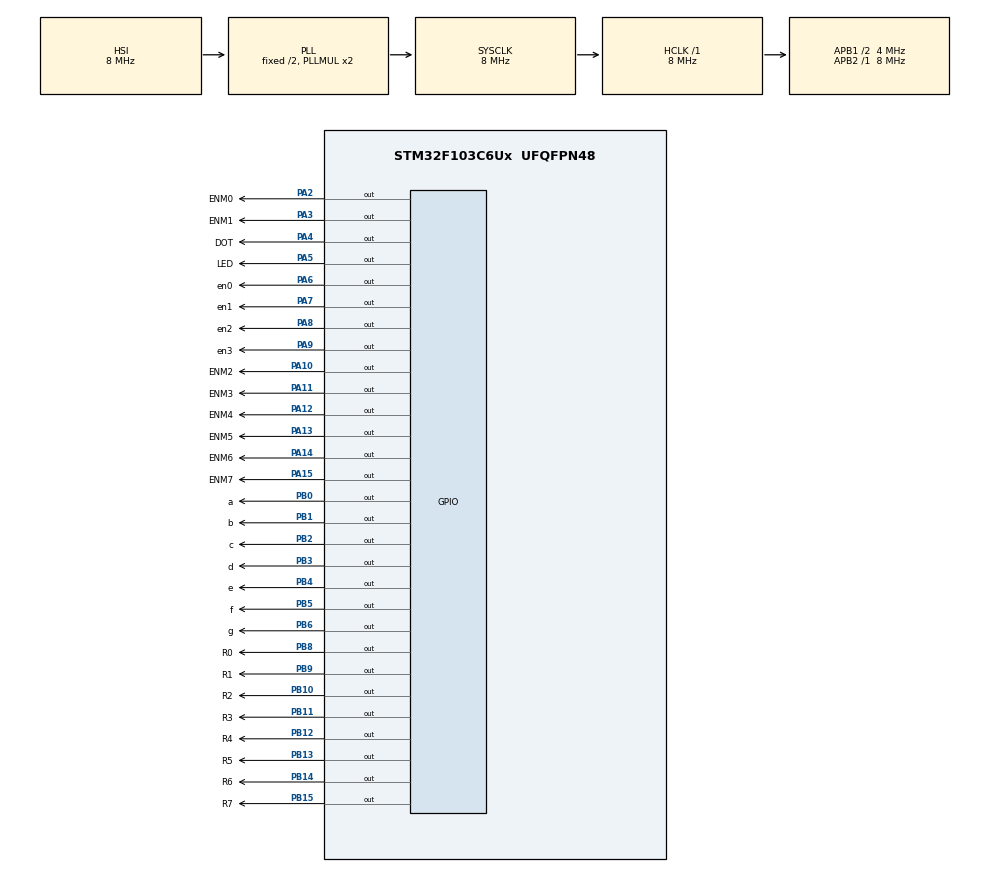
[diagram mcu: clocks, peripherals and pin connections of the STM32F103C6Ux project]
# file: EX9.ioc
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Mcu.Family=STM32F1
Mcu.Name=STM32F103C6Ux
Mcu.Package=UFQFPN48
NVIC.PriorityGroup=NVIC_PRIORITYGROUP_4
NVIC.TIM2_IRQn=true\:0\:0\:false\:false\:true\:true\:true
PA10.GPIO_Label=ENM2
PA10.Signal=GPIO_Output
PA11.GPIO_Label=ENM3
PA11.Signal=GPIO_Output
PA12.GPIO_Label=ENM4
PA12.Signal=GPIO_Output
PA13.GPIO_Label=ENM5
PA13.Signal=GPIO_Output
PA14.GPIO_Label=ENM6
PA14.Signal=GPIO_Output
PA15.GPIO_Label=ENM7
PA15.Signal=GPIO_Output
PA2.GPIO_Label=ENM0
PA2.Signal=GPIO_Output
PA3.GPIO_Label=ENM1
PA3.Signal=GPIO_Output
PA4.GPIO_Label=DOT
PA4.Signal=GPIO_Output
PA5.GPIO_Label=LED
PA5.Signal=GPIO_Output
PA6.GPIO_Label=en0
PA6.Signal=GPIO_Output
PA7.GPIO_Label=en1
PA7.Signal=GPIO_Output
PA8.GPIO_Label=en2
PA8.Signal=GPIO_Output
PA9.GPIO_Label=en3
PA9.Signal=GPIO_Output
PB0.GPIO_Label=a
PB0.Signal=GPIO_Output
PB1.GPIO_Label=b
PB1.Signal=GPIO_Output
PB10.GPIO_Label=R2
PB10.Signal=GPIO_Output
PB11.GPIO_Label=R3
PB11.Signal=GPIO_Output
PB12.GPIO_Label=R4
PB12.Signal=GPIO_Output
PB13.GPIO_Label=R5
PB13.Signal=GPIO_Output
PB14.GPIO_Label=R6
PB14.Signal=GPIO_Output
PB15.GPIO_Label=R7
PB15.Signal=GPIO_Output
PB2.GPIO_Label=c
PB2.Signal=GPIO_Output
PB3.GPIO_Label=d
PB3.Signal=GPIO_Output
PB4.GPIO_Label=e
PB4.Signal=GPIO_Output
PB5.GPIO_Label=f
PB5.Signal=GPIO_Output
PB6.GPIO_Label=g
PB6.Signal=GPIO_Output
PB8.GPIO_Label=R0
PB8.Signal=GPIO_Output
PB9.GPIO_Label=R1
PB9.Signal=GPIO_Output
ProjectManager.HeapSize=0x200
ProjectManager.StackSize=0x400
ProjectManager.TargetToolchain=STM32CubeIDE
RCC.AHBFreq_Value=8000000
RCC.APB1CLKDivider=RCC_HCLK_DIV2
RCC.APB1Freq_Value=4000000
RCC.APB1TimFreq_Value=8000000
RCC.APB2Freq_Value=8000000
RCC.APB2TimFreq_Value=8000000
RCC.HCLKFreq_Value=8000000
RCC.SYSCLKFreq_VALUE=8000000
RCC.SYSCLKSource=RCC_SYSCLKSOURCE_PLLCLK
RCC.USBFreq_Value=8000000
TIM2.Period=9
TIM2.Prescaler=7999
VP_SYS_VS_ND.Mode=No_Debug
VP_TIM2_VS_ClockSourceINT.Mode=Internal
board=custom

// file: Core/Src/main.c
/* USER CODE BEGIN Header */
/**
  ******************************************************************************
  * @file           : main.c
  * @brief          : Main program body
  ******************************************************************************
  * @attention
  *
  * <h2><center>&copy; Copyright (c) 2022 STMicroelectronics.
  * All rights reserved.</center></h2>
  *
  * This software component is licensed by ST under BSD 3-Clause license,
  * the "License"; You may not use this file except in compliance with the
  * License. You may obtain a copy of the License at:
  *                        opensource.org/licenses/BSD-3-Clause
  *
  ******************************************************************************
  */
/* USER CODE END Header */
#include "main.h"

/* USER CODE BEGIN Includes */
#include "software_timer.h"
/* USER CODE END Includes */

TIM_HandleTypeDef htim2;

void SystemClock_Config(void);
static void MX_GPIO_Init(void);
static void MX_TIM2_Init(void);

/* USER CODE BEGIN 0 */

const int MAX_LED = 4;
int index_led = 0;
int led_buffer [4] = {1 , 2 , 3 , 4};
void display7SEG(int num){
	HAL_GPIO_WritePin (GPIOB,a_Pin|b_Pin|c_Pin|d_Pin|e_Pin|f_Pin|g_Pin, GPIO_PIN_SET ) ;
	switch(num){
	case 0:
		HAL_GPIO_TogglePin (GPIOB,a_Pin|b_Pin|c_Pin|d_Pin|e_Pin|f_Pin) ;
		break;
	case 1:
		HAL_GPIO_TogglePin (GPIOB ,b_Pin|c_Pin ) ;
		break;
	case 2:
		HAL_GPIO_TogglePin (GPIOB,a_Pin|b_Pin|g_Pin|d_Pin|e_Pin) ;
		break;
	case 3:
		HAL_GPIO_TogglePin (GPIOB,a_Pin|b_Pin|g_Pin|c_Pin|d_Pin) ;
		break;
	case 4:
		HAL_GPIO_TogglePin (GPIOB,f_Pin|g_Pin|b_Pin|c_Pin) ;
		break;
	case 5:
		HAL_GPIO_TogglePin (GPIOB,a_Pin|f_Pin|g_Pin|c_Pin|d_Pin) ;
		break;
	case 6 :
		HAL_GPIO_TogglePin (GPIOB,a_Pin|f_Pin|g_Pin|e_Pin|c_Pin|d_Pin) ;
		break;
	case 7 :
		HAL_GPIO_TogglePin (GPIOB,a_Pin|b_Pin|c_Pin ) ;
		break;
	case 8:
		HAL_GPIO_TogglePin (GPIOB,a_Pin|b_Pin|c_Pin|d_Pin|e_Pin|f_Pin|g_Pin) ;
		break;
	case 9:
		HAL_GPIO_TogglePin (GPIOB,a_Pin|b_Pin|c_Pin|d_Pin|f_Pin|g_Pin) ;
		break;
	}
	return;
}

void update7SEG(int index){
	HAL_GPIO_WritePin (GPIOA,en0_Pin|en1_Pin|en2_Pin|en3_Pin, SET) ;
	switch(index){
	case 0:
		// Display the first 7 SEG with led_buffer [0]
		 HAL_GPIO_WritePin (en0_GPIO_Port,en0_Pin, GPIO_PIN_RESET ) ;
		 display7SEG(led_buffer[0]);
		break ;
	case 1:
		// Display the second 7 SEG with led_buffer [1]
		 HAL_GPIO_WritePin (en1_GPIO_Port,en1_Pin, GPIO_PIN_RESET ) ;
		 display7SEG(led_buffer[1]);
		break ;
	case 2:
		// Display the third 7 SEG with led_buffer [2]
		 HAL_GPIO_WritePin (en2_GPIO_Port,en2_Pin, GPIO_PIN_RESET ) ;
		 display7SEG(led_buffer[2]);
		break ;
	case 3:
		// Display the forth 7 SEG with led_buffer [3]
		 HAL_GPIO_WritePin (en3_GPIO_Port,en3_Pin, GPIO_PIN_RESET ) ;
		 display7SEG(led_buffer[3]);
		break ;
	default :
		index_led = 1;
		update7SEG(0);
		break ;
	}
}

void displayA(uint8_t number){
	HAL_GPIO_WritePin(R0_GPIO_Port, R0_Pin, ((number>>0)&0x01)^0x01);
	HAL_GPIO_WritePin(R1_GPIO_Port, R1_Pin, ((number>>1)&0x01)^0x01);
	HAL_GPIO_WritePin(R2_GPIO_Port, R2_Pin, ((number>>2)&0x01)^0x01);
	HAL_GPIO_WritePin(R3_GPIO_Port, R3_Pin, ((number>>3)&0x01)^0x01);
	HAL_GPIO_WritePin(R4_GPIO_Port, R4_Pin, ((number>>4)&0x01)^0x01);
	HAL_GPIO_WritePin(R5_GPIO_Port, R5_Pin, ((number>>5)&0x01)^0x01);
	HAL_GPIO_WritePin(R6_GPIO_Port, R6_Pin, ((number>>6)&0x01)^0x01);
	HAL_GPIO_WritePin(R7_GPIO_Port, R7_Pin, ((number>>7)&0x01)^0x01);
}
const int MAX_LED_MATRIX = 8;
int index_led_matrix = 0;
uint8_t matrix_buffer[8] = {0x00 , 0xFC , 0xFE , 0x33 , 0x33 , 0xFE , 0xFC , 0x00};
void updateLEDMatrix (int index) {
	switch (index){
		case 0:
			HAL_GPIO_WritePin(ENM0_GPIO_Port, ENM0_Pin, GPIO_PIN_RESET);
			HAL_GPIO_WritePin(GPIOA, ENM1_Pin|ENM2_Pin|ENM3_Pin|ENM4_Pin|ENM5_Pin|ENM6_Pin|ENM7_Pin, GPIO_PIN_SET);
			displayA(matrix_buffer[0]);
			break;
		case 1:
			HAL_GPIO_WritePin(ENM1_GPIO_Port, ENM1_Pin, GPIO_PIN_RESET);
			HAL_GPIO_WritePin(GPIOA, ENM0_Pin|ENM2_Pin|ENM3_Pin|ENM4_Pin|ENM5_Pin|ENM6_Pin|ENM7_Pin, GPIO_PIN_SET);
			displayA(matrix_buffer[1]);
			break;
		case 2:
			HAL_GPIO_WritePin(ENM2_GPIO_Port, ENM2_Pin, GPIO_PIN_RESET);
			HAL_GPIO_WritePin(GPIOA, ENM0_Pin|ENM1_Pin|ENM3_Pin|ENM4_Pin|ENM5_Pin|ENM6_Pin|ENM7_Pin, GPIO_PIN_SET);
			displayA(matrix_buffer[2]);
			break;
		case 3:
			HAL_GPIO_WritePin(ENM3_GPIO_Port, ENM3_Pin, GPIO_PIN_RESET);
			HAL_GPIO_WritePin(GPIOA, ENM0_Pin|ENM1_Pin|ENM2_Pin|ENM4_Pin|ENM5_Pin|ENM6_Pin|ENM7_Pin, GPIO_PIN_SET);
			displayA(matrix_buffer[3]);
			break;
		case 4:
			HAL_GPIO_WritePin(ENM4_GPIO_Port, ENM4_Pin, GPIO_PIN_RESET);
			HAL_GPIO_WritePin(GPIOA, ENM0_Pin|ENM1_Pin|ENM2_Pin|ENM3_Pin|ENM5_Pin|ENM6_Pin|ENM7_Pin, GPIO_PIN_SET);
			displayA(matrix_buffer[4]);
			break;
		case 5:
			HAL_GPIO_WritePin(ENM5_GPIO_Port, ENM5_Pin, GPIO_PIN_RESET);
			HAL_GPIO_WritePin(GPIOA, ENM0_Pin|ENM1_Pin|ENM2_Pin|ENM3_Pin|ENM4_Pin|ENM6_Pin|ENM7_Pin, GPIO_PIN_SET);
			displayA(matrix_buffer[5]);
			break;
		case 6:
			HAL_GPIO_WritePin(ENM6_GPIO_Port, ENM6_Pin, GPIO_PIN_RESET);
			HAL_GPIO_WritePin(GPIOA, ENM0_Pin|ENM1_Pin|ENM2_Pin|ENM3_Pin|ENM4_Pin|ENM5_Pin|ENM7_Pin, GPIO_PIN_SET);
			displayA(matrix_buffer[6]);
			break;
		case 7:
			HAL_GPIO_WritePin(ENM7_GPIO_Port, ENM7_Pin, GPIO_PIN_RESET);
			HAL_GPIO_WritePin(GPIOA, ENM0_Pin|ENM1_Pin|ENM2_Pin|ENM3_Pin|ENM4_Pin|ENM5_Pin|ENM6_Pin, GPIO_PIN_SET);
			displayA(matrix_buffer[7]);
			index_led_matrix = -1;
			break;
	}
}

/* USER CODE END 0 */

int main(void)
{

  /* MCU Configuration--------------------------------------------------------*/

  /* Reset of all peripherals, Initializes the Flash interface and the Systick. */
  HAL_Init();

  /* Configure the system clock */
  SystemClock_Config();

  /* Initialize all configured peripherals */
  MX_GPIO_Init();
  MX_TIM2_Init();
  /* USER CODE BEGIN 2 */
  HAL_TIM_Base_Start_IT (& htim2 ) ;
  int hour = 15 , minute = 8 , second = 50;
  void updateClockBuffer(){
	  //update hour
	  	  led_buffer[0] = hour/10;
		  led_buffer[1] = hour%10;
		  led_buffer[2] = minute/10;
		  led_buffer[3] = minute%10;
  }
  /* USER CODE END 2 */

  /* Infinite loop */
  /* USER CODE BEGIN WHILE */
  setTimer0(100);
  setTimer1(100);
  setTimer2(100);
  while (1)
  {
	  if(timer0_flag == 1){
		  updateLEDMatrix(index_led_matrix);
		  index_led_matrix++;
		  setTimer0(50);
	  }

	  if (timer1_flag == 1){
		  second++;
		  if (second >= 60){
			 second = 0;
			 minute++;
		  }
		  if(minute >= 60){
			 minute = 0;
			 hour ++;
		  }
		  if(hour >=24){
			 hour = 0;
		  }
		  updateClockBuffer();
		  HAL_GPIO_TogglePin(DOT_GPIO_Port, DOT_Pin);
		  setTimer1(1000);
	  }
	  if(timer2_flag == 1){
		  update7SEG(index_led++);
		  setTimer2(500);
	  }

    /* USER CODE END WHILE */

  }
}

void SystemClock_Config(void)
{
  RCC_OscInitTypeDef RCC_OscInitStruct = {0};
  RCC_ClkInitTypeDef RCC_ClkInitStruct = {0};

  /** Initializes the RCC Oscillators according to the specified parameters
  * in the RCC_OscInitTypeDef structure.
  */
  RCC_OscInitStruct.OscillatorType = RCC_OSCILLATORTYPE_HSI;
  RCC_OscInitStruct.HSIState = RCC_HSI_ON;
  RCC_OscInitStruct.HSICalibrationValue = RCC_HSICALIBRATION_DEFAULT;
  RCC_OscInitStruct.PLL.PLLState = RCC_PLL_ON;
  RCC_OscInitStruct.PLL.PLLSource = RCC_PLLSOURCE_HSI_DIV2;
  RCC_OscInitStruct.PLL.PLLMUL = RCC_PLL_MUL2;
  if (HAL_RCC_OscConfig(&RCC_OscInitStruct) != HAL_OK)
  {
    Error_Handler();
  }
  /** Initializes the CPU, AHB and APB buses clocks
  */
  RCC_ClkInitStruct.ClockType = RCC_CLOCKTYPE_HCLK|RCC_CLOCKTYPE_SYSCLK
                              |RCC_CLOCKTYPE_PCLK1|RCC_CLOCKTYPE_PCLK2;
  RCC_ClkInitStruct.SYSCLKSource = RCC_SYSCLKSOURCE_PLLCLK;
  RCC_ClkInitStruct.AHBCLKDivider = RCC_SYSCLK_DIV1;
  RCC_ClkInitStruct.APB1CLKDivider = RCC_HCLK_DIV2;
  RCC_ClkInitStruct.APB2CLKDivider = RCC_HCLK_DIV1;

  if (HAL_RCC_ClockConfig(&RCC_ClkInitStruct, FLASH_LATENCY_0) != HAL_OK)
  {
    Error_Handler();
  }
}

static void MX_TIM2_Init(void)
{

  TIM_ClockConfigTypeDef sClockSourceConfig = {0};
  TIM_MasterConfigTypeDef sMasterConfig = {0};

  htim2.Instance = TIM2;
  htim2.Init.Prescaler = 7999;
  htim2.Init.CounterMode = TIM_COUNTERMODE_UP;
  htim2.Init.Period = 9;
  htim2.Init.ClockDivision = TIM_CLOCKDIVISION_DIV1;
  htim2.Init.AutoReloadPreload = TIM_AUTORELOAD_PRELOAD_DISABLE;
  if (HAL_TIM_Base_Init(&htim2) != HAL_OK)
  {
    Error_Handler();
  }
  sClockSourceConfig.ClockSource = TIM_CLOCKSOURCE_INTERNAL;
  if (HAL_TIM_ConfigClockSource(&htim2, &sClockSourceConfig) != HAL_OK)
  {
    Error_Handler();
  }
  sMasterConfig.MasterOutputTrigger = TIM_TRGO_RESET;
  sMasterConfig.MasterSlaveMode = TIM_MASTERSLAVEMODE_DISABLE;
  if (HAL_TIMEx_MasterConfigSynchronization(&htim2, &sMasterConfig) != HAL_OK)
  {
    Error_Handler();
  }

}

static void MX_GPIO_Init(void)
{
  GPIO_InitTypeDef GPIO_InitStruct = {0};

  /* GPIO Ports Clock Enable */
  __HAL_RCC_GPIOA_CLK_ENABLE();
  __HAL_RCC_GPIOB_CLK_ENABLE();

  /*Configure GPIO pin Output Level */
  HAL_GPIO_WritePin(GPIOA, ENM0_Pin|ENM1_Pin|DOT_Pin|LED_Pin
                          |en0_Pin|en1_Pin|en2_Pin|en3_Pin
                          |ENM2_Pin|ENM3_Pin|ENM4_Pin|ENM5_Pin
                          |ENM6_Pin|ENM7_Pin, GPIO_PIN_RESET);

  /*Configure GPIO pin Output Level */
  HAL_GPIO_WritePin(GPIOB, a_Pin|b_Pin|c_Pin|R2_Pin
                          |R3_Pin|R4_Pin|R5_Pin|R6_Pin
                          |R7_Pin|d_Pin|e_Pin|f_Pin
                          |g_Pin|R0_Pin|R1_Pin, GPIO_PIN_RESET);

  /*Configure GPIO pins : ENM0_Pin ENM1_Pin DOT_Pin LED_Pin
                           en0_Pin en1_Pin en2_Pin en3_Pin
                           ENM2_Pin ENM3_Pin ENM4_Pin ENM5_Pin
                           ENM6_Pin ENM7_Pin */
  GPIO_InitStruct.Pin = ENM0_Pin|ENM1_Pin|DOT_Pin|LED_Pin
                          |en0_Pin|en1_Pin|en2_Pin|en3_Pin
                          |ENM2_Pin|ENM3_Pin|ENM4_Pin|ENM5_Pin
                          |ENM6_Pin|ENM7_Pin;
  GPIO_InitStruct.Mode = GPIO_MODE_OUTPUT_PP;
  GPIO_InitStruct.Pull = GPIO_NOPULL;
  GPIO_InitStruct.Speed = GPIO_SPEED_FREQ_LOW;
  HAL_GPIO_Init(GPIOA, &GPIO_InitStruct);

  /*Configure GPIO pins : a_Pin b_Pin c_Pin R2_Pin
                           R3_Pin R4_Pin R5_Pin R6_Pin
                           R7_Pin d_Pin e_Pin f_Pin
                           g_Pin R0_Pin R1_Pin */
  GPIO_InitStruct.Pin = a_Pin|b_Pin|c_Pin|R2_Pin
                          |R3_Pin|R4_Pin|R5_Pin|R6_Pin
                          |R7_Pin|d_Pin|e_Pin|f_Pin
                          |g_Pin|R0_Pin|R1_Pin;
  GPIO_InitStruct.Mode = GPIO_MODE_OUTPUT_PP;
  GPIO_InitStruct.Pull = GPIO_NOPULL;
  GPIO_InitStruct.Speed = GPIO_SPEED_FREQ_LOW;
  HAL_GPIO_Init(GPIOB, &GPIO_InitStruct);

}

/* USER CODE BEGIN 4 */
void HAL_TIM_PeriodElapsedCallback ( TIM_HandleTypeDef * htim ){
	timerRun();
}

/* USER CODE END 4 */

void Error_Handler(void)
{
  __disable_irq();
  while (1)
  {
  }
}

/************************ (C) COPYRIGHT STMicroelectronics *****END OF FILE****/
